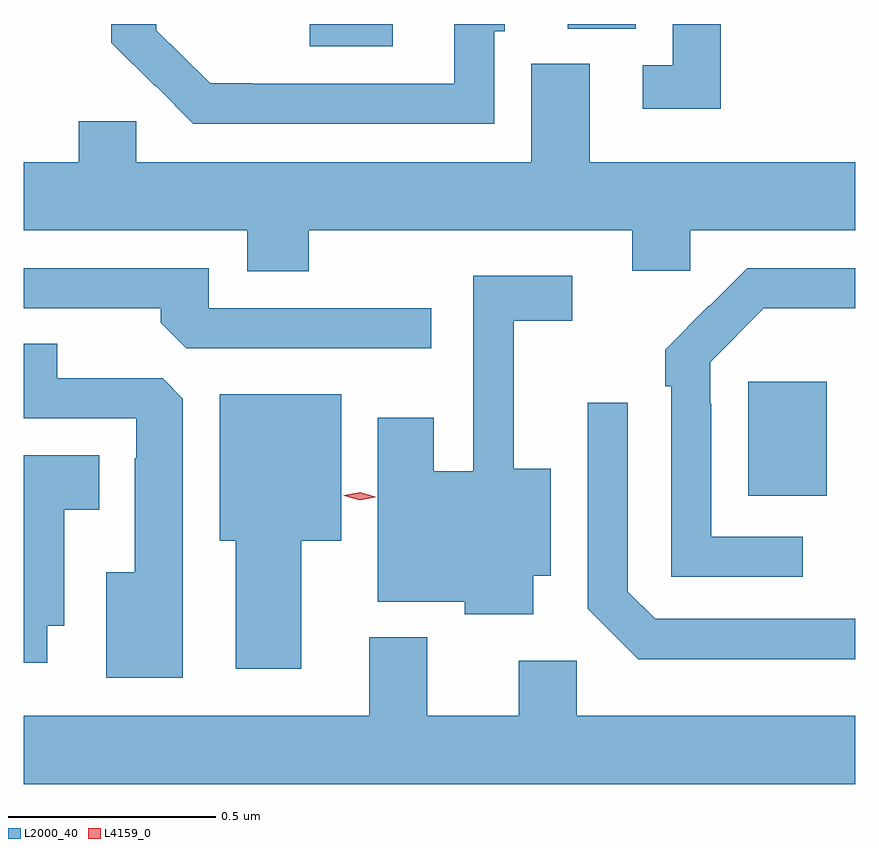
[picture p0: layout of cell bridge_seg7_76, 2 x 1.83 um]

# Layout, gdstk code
import gdstk
lib = gdstk.Library(unit=1e-6, precision=1e-09)
def R(c, l, rs):  # rectangles x0, y0, x1, y1
    for r in rs: c.add(gdstk.rectangle(r[:2], r[2:], *l))
def P(c, l, *ps):  # polygons
    for p in ps: c.add(gdstk.Polygon(p, *l))
L2000_40 = (2000, 40)
L4159_0 = (4159, 0)

bridge_seg7_76 = lib.new_cell('bridge_seg7_76')
R(bridge_seg7_76, L2000_40, [(1068.671,1023.953,1068.859,1024.228), (1067.616,1025.034,1067.815,1025.088), (1068.236,1025.077,1068.4,1025.088)])
P(bridge_seg7_76, L2000_40, [(1068.06,1025.07),(1068.085,1025.07),(1068.085,1025.088),(1067.963,1025.088),(1067.963,1024.944),(1067.479,1024.944),(1067.479,1024.945),(1067.376,1024.945),(1067.247,1025.073),(1067.247,1025.088),(1067.139,1025.088),(1067.139,1025.043),(1067.244,1024.938),(1067.245,1024.939),(1067.336,1024.848),(1068.06,1024.848)],
  [(1068.605,1025.088),(1068.489,1025.088),(1068.489,1024.989),(1068.417,1024.989),(1068.417,1024.884),(1068.605,1024.884)],
  [(1068.392,1024.494),(1068.531,1024.494),(1068.531,1024.592),(1068.928,1024.592),(1068.928,1024.756),(1068.289,1024.756),(1068.289,1024.992),(1068.149,1024.992),(1068.149,1024.756),(1067.199,1024.756),(1067.199,1024.854),(1067.06,1024.854),(1067.06,1024.756),(1066.928,1024.756),(1066.928,1024.592),(1067.465,1024.592),(1067.465,1024.493),(1067.613,1024.493),(1067.613,1024.592),(1068.392,1024.592)],
  [(1067.908,1024.404),(1067.373,1024.404),(1067.373,1024.5),(1066.928,1024.5),(1066.928,1024.404),(1067.258,1024.404),(1067.258,1024.37),(1067.319,1024.308),(1067.908,1024.308)],
  [(1068.802,1023.855),(1068.582,1023.855),(1068.582,1024.175),(1068.579,1024.175),(1068.579,1024.275),(1068.708,1024.404),(1068.928,1024.404),(1068.928,1024.5),(1068.668,1024.5),(1068.577,1024.409),(1068.576,1024.41),(1068.471,1024.305),(1068.471,1024.217),(1068.486,1024.217),(1068.486,1023.759),(1068.802,1023.759)],
  [(1068.154,1023.761),(1068.196,1023.761),(1068.196,1024.018),(1068.107,1024.018),(1068.107,1024.374),(1068.247,1024.374),(1068.247,1024.482),(1068.009,1024.482),(1068.009,1024.012),(1067.914,1024.012),(1067.914,1024.141),(1067.78,1024.141),(1067.78,1023.698),(1067.989,1023.698),(1067.989,1023.668),(1068.154,1023.668)],
  [(1067.311,1024.187),(1067.262,1024.236),(1067.008,1024.236),(1067.008,1024.319),(1066.928,1024.319),(1066.928,1024.14),(1067.199,1024.14),(1067.199,1024.043),(1067.195,1024.043),(1067.195,1023.769),(1067.126,1023.769),(1067.126,1023.515),(1067.311,1023.515)],
  [(1067.596,1023.845),(1067.692,1023.845),(1067.692,1024.198),(1067.399,1024.198),(1067.399,1023.845),(1067.438,1023.845),(1067.438,1023.537),(1067.596,1023.537)],
  [(1068.928,1023.657),(1068.447,1023.657),(1068.381,1023.723),(1068.381,1024.177),(1068.285,1024.177),(1068.285,1023.681),(1068.406,1023.56),(1068.928,1023.56)],
  [(1066.984,1023.641),(1067.026,1023.641),(1067.026,1023.92),(1067.11,1023.92),(1067.11,1024.051),(1066.928,1024.051),(1066.928,1023.552),(1066.984,1023.552)],
  [(1068.119,1023.556),(1068.119,1023.424),(1067.899,1023.424),(1067.899,1023.613),(1067.759,1023.613),(1067.759,1023.424),(1066.928,1023.424),(1066.928,1023.26),(1068.928,1023.26),(1068.928,1023.424),(1068.258,1023.424),(1068.258,1023.556)])
P(bridge_seg7_76, L4159_0, [(1067.736,1023.942),(1067.699,1023.953),(1067.698,1023.954),(1067.699,1023.954),(1067.737,1023.962),(1067.774,1023.951),(1067.774,1023.95),(1067.774,1023.95)])

lib.write_gds('bridge_seg7_76.gds')
